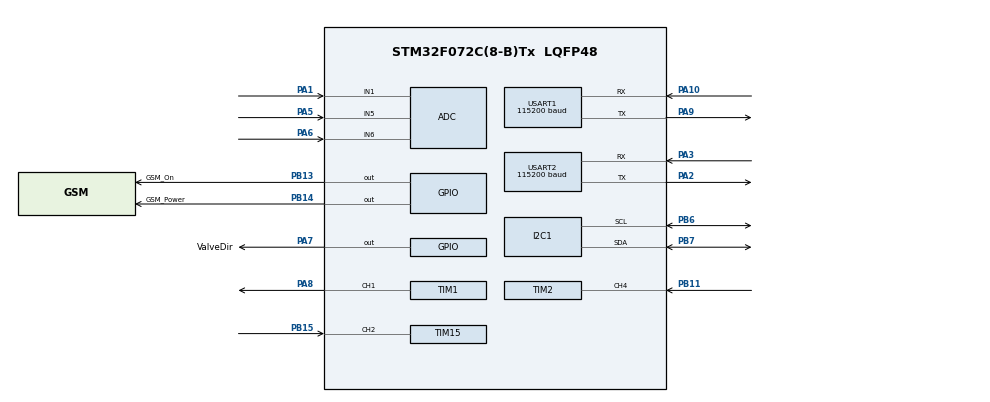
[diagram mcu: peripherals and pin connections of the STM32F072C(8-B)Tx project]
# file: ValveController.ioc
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Dma.ADC.0.Direction=DMA_PERIPH_TO_MEMORY
Dma.ADC.0.Instance=DMA1_Channel1
Dma.ADC.0.MemDataAlignment=DMA_MDATAALIGN_WORD
Dma.ADC.0.MemInc=DMA_MINC_ENABLE
Dma.ADC.0.Mode=DMA_NORMAL
Dma.ADC.0.PeriphDataAlignment=DMA_PDATAALIGN_WORD
Dma.ADC.0.PeriphInc=DMA_PINC_DISABLE
Dma.ADC.0.Priority=DMA_PRIORITY_LOW
Dma.Request0=ADC
Mcu.Family=STM32F0
Mcu.Name=STM32F072C(8-B)Tx
Mcu.Package=LQFP48
NVIC.DMA1_Channel1_IRQn=true\:0\:0\:false\:false\:true\:false\:true\:true
NVIC.TIM15_IRQn=true\:0\:0\:false\:false\:true\:true\:true\:true
NVIC.TIM1_BRK_UP_TRG_COM_IRQn=true\:0\:0\:false\:false\:true\:true\:true\:true
NVIC.TIM1_CC_IRQn=true\:0\:0\:false\:false\:true\:true\:true\:true
NVIC.TIM2_IRQn=true\:0\:0\:false\:false\:true\:true\:true\:true
NVIC.TIM3_IRQn=true\:3\:0\:false\:false\:true\:false\:true\:true
NVIC.TimeBase=TIM3_IRQn
NVIC.TimeBaseIP=TIM3
NVIC.USART1_IRQn=true\:0\:0\:false\:false\:true\:true\:true\:true
NVIC.USART2_IRQn=true\:0\:0\:false\:false\:true\:true\:true\:true
PA1.Mode=IN1
PA1.Signal=ADC_IN1
PA10.Mode=Asynchronous
PA10.Signal=USART1_RX
PA13.Mode=Serial_Wire
PA13.Signal=SYS_SWDIO
PA14.Mode=Serial_Wire
PA14.Signal=SYS_SWCLK
PA2.Mode=Asynchronous
PA2.Signal=USART2_TX
PA3.Mode=Asynchronous
PA3.Signal=USART2_RX
PA5.Mode=IN5
PA5.Signal=ADC_IN5
PA6.Mode=IN6
PA6.Signal=ADC_IN6
PA7.GPIO_Label=ValveDir
PA7.Signal=GPIO_Output
PA8.Signal=S_TIM1_CH1
PA9.Mode=Asynchronous
PA9.Signal=USART1_TX
PB11.Signal=S_TIM2_CH4
PB13.GPIO_Label=GSM_On
PB13.Signal=GPIO_Output
PB14.GPIO_Label=GSM_Power
PB14.Signal=GPIO_Output
PB15.Signal=S_TIM15_CH2
PB6.Mode=I2C
PB6.Signal=I2C1_SCL
PB7.Mode=I2C
PB7.Signal=I2C1_SDA
PF0-OSC_IN.Mode=HSE-External-Oscillator
PF0-OSC_IN.Signal=RCC_OSC_IN
PF1-OSC_OUT.Mode=HSE-External-Oscillator
PF1-OSC_OUT.Signal=RCC_OSC_OUT
ProjectManager.HeapSize=0x200
ProjectManager.StackSize=0x400
ProjectManager.TargetToolchain=STM32CubeIDE
SH.S_TIM15_CH2.0=TIM15_CH2,Input_Capture2_from_TI2
SH.S_TIM1_CH1.0=TIM1_CH1,PWM Generation1 CH1
SH.S_TIM2_CH4.0=TIM2_CH4,Input_Capture4_from_TI4
TIM1.Channel-PWM\ Generation1\ CH1=TIM_CHANNEL_1
TIM1.OCFastMode_PWM-PWM\ Generation1\ CH1=TIM_OCFAST_ENABLE
TIM1.OCMode_PWM-PWM\ Generation1\ CH1=TIM_OCMODE_PWM2
TIM1.Prescaler=8000-1
TIM1.Pulse-PWM\ Generation1\ CH1=32000
TIM15.Channel-Input_Capture2_from_TI2=TIM_CHANNEL_2
TIM15.Prescaler=8000-1
TIM2.Channel-Input_Capture4_from_TI4=TIM_CHANNEL_4
TIM2.Prescaler=8000-1
USART1.BaudRate=115200
USART1.VirtualMode-Asynchronous=VM_ASYNC
USART2.BaudRate=115200
USART2.VirtualMode-Asynchronous=VM_ASYNC
VP_SYS_VS_tim3.Mode=TIM3
VP_TIM15_VS_ClockSourceINT.Mode=Internal
VP_TIM1_VS_ClockSourceINT.Mode=Internal
VP_TIM1_VS_OPM.Mode=OPM_bit
VP_TIM2_VS_ClockSourceINT.Mode=Internal
board=custom

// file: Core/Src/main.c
/* USER CODE BEGIN Header */
/**
  ******************************************************************************
  * @file           : main.c
  * @brief          : Main program body
  ******************************************************************************
  * @attention
  *
  * Copyright (c) 2023 STMicroelectronics.
  * All rights reserved.
  *
  * This software is licensed under terms that can be found in the LICENSE file
  * in the root directory of this software component.
  * If no LICENSE file comes with this software, it is provided AS-IS.
  *
  ******************************************************************************
  */
/* USER CODE END Header */
#include "main.h"

/* USER CODE BEGIN Includes */
#include "ssd1306.h"
#include "GSM.h"
#include "myString.h"
#include "ADC.h"
/* USER CODE END Includes */

ADC_HandleTypeDef hadc;
DMA_HandleTypeDef hdma_adc;

I2C_HandleTypeDef hi2c1;

TIM_HandleTypeDef htim1;
TIM_HandleTypeDef htim2;
TIM_HandleTypeDef htim15;

UART_HandleTypeDef huart1;
UART_HandleTypeDef huart2;

/* USER CODE BEGIN PV */
uint8_t temp[20];
uint8_t timer1s = 0;
uint8_t timer10ms;
int timer1 = 0;
int timer2 = 0;
int timer3 = 0;
float gallonsPm;
extern valveData valve;
int flowing;
uint32_t capture1;
uint32_t previousCapture1;
/* USER CODE END PV */

void SystemClock_Config(void);
static void MX_GPIO_Init(void);
static void MX_DMA_Init(void);
static void MX_I2C1_Init(void);
static void MX_USART1_UART_Init(void);
static void MX_USART2_UART_Init(void);
static void MX_ADC_Init(void);
static void MX_TIM1_Init(void);
static void MX_TIM2_Init(void);
static void MX_TIM15_Init(void);

/* USER CODE BEGIN 0 */

//Flow rate : 5~200L/min
//Flow Pulse:  F(Hz)=(0.45xQ) +/-3%    Q=L/min
//1 gallon = 3,78541 litres

void HAL_TIM_IC_CaptureCallback(TIM_HandleTypeDef *htim){

	  if (htim->Instance == TIM2){
		  if(htim->Channel == HAL_TIM_ACTIVE_CHANNEL_4){
			  flowing = 2;
			  capture1 = HAL_TIM_ReadCapturedValue(&htim2, TIM_CHANNEL_4);
			  if (capture1 > previousCapture1){

			  }
		  }
	  }
	  if (htim->Instance == TIM15){
		  if(htim->Channel == HAL_TIM_ACTIVE_CHANNEL_2){
			  flowing = 1;
		  }
	  }

}
void pulseTim(uint32_t length){
	uint32_t temp;
	if((TIM1->CR1 & TIM_CR1_CEN) == 0){
	  Debug_Send("Pulse f\r\n");
	  temp = length;
	  TIM1->CCR1 = 65000 - temp;
	  TIM1-> CNT = 65000 -temp - 300;
	  //sprintf(temp, "CCR:%i, CNT: %i, length: %i\r\n", TIM1->CCR1, TIM1-> CNT, length);
	  //Debug_Send(temp);
	  //TIM1->EGR |= TIM_EGR_UG;
	  //htim1.Init.Period = 100;
	  TIM1->CR1 |= TIM_CR1_CEN;
	}
}

/* USER CODE END 0 */

int main(void)
{

  /* MCU Configuration--------------------------------------------------------*/

  /* Reset of all peripherals, Initializes the Flash interface and the Systick. */
  HAL_Init();

  /* Configure the system clock */
  SystemClock_Config();

  /* Initialize all configured peripherals */
  MX_GPIO_Init();
  MX_DMA_Init();
  MX_I2C1_Init();
  MX_USART1_UART_Init();
  MX_USART2_UART_Init();
  MX_ADC_Init();
  MX_TIM1_Init();
  MX_TIM2_Init();
  MX_TIM15_Init();
  /* USER CODE BEGIN 2 */
  Debug_Send("start\r\n");
  ssd1306_Init();
  GSM_Init();
  HAL_TIM_OnePulse_Start_IT(&htim1, TIM_CHANNEL_1);
  ssd1306_Init();
  Debug_Send("Init done\r\n");
  HAL_Delay(1000);
  ADC_Service();
  valve.idleCurrent = GetADC1()[ValveLimit];
  HAL_Delay(1000);
  HAL_TIM_IC_Start_IT(&htim2, TIM_CHANNEL_4);
  HAL_TIM_IC_Start_IT(&htim15, TIM_CHANNEL_2);
  /* USER CODE END 2 */

  /* Infinite loop */
  /* USER CODE BEGIN WHILE */
  while (1)
  {
	  if (timer1s == 1){
		  timer1s = 0;
		  Debug_Send("loop\r\n");
		  if (valve.timeout == 0){
			  ADC_Service();
			  if(valve.calibrate == 1) valve.idleCurrent = GetADC1()[ValveLimit];
		  }
		  //GSM_Service();
		  ssd1306_SetCursor(5, 5);
		  ssd1306_WriteString(">Pos ", Font_7x10, White);
		  myLongStr(flowing,temp,10,10);
		  ssd1306_WriteString(temp, Font_7x10, White);
		  ssd1306_UpdateScreen();
		  Motor_Service();
		  flowing = 0;
		  //HAL_GPIO_TogglePin(ValveDir_GPIO_Port, ValveDir_Pin);
	  }
	  if (timer10ms == 1){
		  timer10ms = 0;
		  recData();
		  if (valve.timeout > 0){
			  valve.timeout--;

			  //openTimer = 0;
			  //closeTimer = 0;
			  ADC_Service();
			  //if (GetADC1()[ValveLimit] > (valve.idleCurrent + (valve.idleCurrent / 10))){	//valve current activity
			  //sprintf(temp, "t:%i cnt:%i rt:%i\r\n",valve.timeout, TIM1-> CNT, valve.runTimer);
			  //Debug_Send(temp);
			  if (GetADC1()[ValveLimit] > (2 * valve.idleCurrent)){
				  if (valve.state == Open){
					  if(valve.calibrate == 0) valve.openTimer++;
					  //Debug_Send("o");
				  }
				  if (valve.state == Close){
					  if(valve.calibrate == 0) valve.closeTimer++;
				  }
				  if (valve.calibrate == 1){
					  //sprintf(temp, "s Timer:%i\r\n", valve.stepTimer);
					  //Debug_Send(temp);
					  Debug_Send(".");
					  valve.stepTimer++;
					  if (valve.stepTimer >= valve.stepSize){
						  valve.stepTimer = 0;
						  stop();
					  }
				  }

			  }
			  else{			//no current change
				  if (valve.state == Close){
					  //if(valve.calibrate == 0) Debug_Send("no motion detected\r\n");
				  }
				  valve.runTimer++;
				  if (valve.runTimer > 100){
					  valve.runTimer = 0;
					  //TIM1->CR1 &= ~TIM_CR1_CEN;		//disable timer
					  //TIM1-> CNT = 6495;
					  valve.timeout = 0;
					  sprintf(temp, "o:%i c:%i done\r\n",valve.openTimer, valve.closeTimer);
					  Debug_Send(temp);
				  }

			  }

		  }
	  }
    /* USER CODE END WHILE */

  }
}

void SystemClock_Config(void)
{
  RCC_OscInitTypeDef RCC_OscInitStruct = {0};
  RCC_ClkInitTypeDef RCC_ClkInitStruct = {0};
  RCC_PeriphCLKInitTypeDef PeriphClkInit = {0};

  /** Initializes the RCC Oscillators according to the specified parameters
  * in the RCC_OscInitTypeDef structure.
  */
  RCC_OscInitStruct.OscillatorType = RCC_OSCILLATORTYPE_HSI|RCC_OSCILLATORTYPE_HSI14;
  RCC_OscInitStruct.HSIState = RCC_HSI_ON;
  RCC_OscInitStruct.HSI14State = RCC_HSI14_ON;
  RCC_OscInitStruct.HSICalibrationValue = RCC_HSICALIBRATION_DEFAULT;
  RCC_OscInitStruct.HSI14CalibrationValue = 16;
  RCC_OscInitStruct.PLL.PLLState = RCC_PLL_NONE;
  if (HAL_RCC_OscConfig(&RCC_OscInitStruct) != HAL_OK)
  {
    Error_Handler();
  }

  /** Initializes the CPU, AHB and APB buses clocks
  */
  RCC_ClkInitStruct.ClockType = RCC_CLOCKTYPE_HCLK|RCC_CLOCKTYPE_SYSCLK
                              |RCC_CLOCKTYPE_PCLK1;
  RCC_ClkInitStruct.SYSCLKSource = RCC_SYSCLKSOURCE_HSI;
  RCC_ClkInitStruct.AHBCLKDivider = RCC_SYSCLK_DIV1;
  RCC_ClkInitStruct.APB1CLKDivider = RCC_HCLK_DIV1;

  if (HAL_RCC_ClockConfig(&RCC_ClkInitStruct, FLASH_LATENCY_0) != HAL_OK)
  {
    Error_Handler();
  }
  PeriphClkInit.PeriphClockSelection = RCC_PERIPHCLK_USART1|RCC_PERIPHCLK_USART2
                              |RCC_PERIPHCLK_I2C1;
  PeriphClkInit.Usart1ClockSelection = RCC_USART1CLKSOURCE_PCLK1;
  PeriphClkInit.Usart2ClockSelection = RCC_USART2CLKSOURCE_PCLK1;
  PeriphClkInit.I2c1ClockSelection = RCC_I2C1CLKSOURCE_HSI;
  if (HAL_RCCEx_PeriphCLKConfig(&PeriphClkInit) != HAL_OK)
  {
    Error_Handler();
  }
}

static void MX_ADC_Init(void)
{

  ADC_ChannelConfTypeDef sConfig = {0};

  /** Configure the global features of the ADC (Clock, Resolution, Data Alignment and number of conversion)
  */
  hadc.Instance = ADC1;
  hadc.Init.ClockPrescaler = ADC_CLOCK_ASYNC_DIV1;
  hadc.Init.Resolution = ADC_RESOLUTION_12B;
  hadc.Init.DataAlign = ADC_DATAALIGN_RIGHT;
  hadc.Init.ScanConvMode = ADC_SCAN_DIRECTION_FORWARD;
  hadc.Init.EOCSelection = ADC_EOC_SINGLE_CONV;
  hadc.Init.LowPowerAutoWait = DISABLE;
  hadc.Init.LowPowerAutoPowerOff = DISABLE;
  hadc.Init.ContinuousConvMode = DISABLE;
  hadc.Init.DiscontinuousConvMode = DISABLE;
  hadc.Init.ExternalTrigConv = ADC_SOFTWARE_START;
  hadc.Init.ExternalTrigConvEdge = ADC_EXTERNALTRIGCONVEDGE_NONE;
  hadc.Init.DMAContinuousRequests = DISABLE;
  hadc.Init.Overrun = ADC_OVR_DATA_PRESERVED;
  if (HAL_ADC_Init(&hadc) != HAL_OK)
  {
    Error_Handler();
  }

  /** Configure for the selected ADC regular channel to be converted.
  */
  sConfig.Channel = ADC_CHANNEL_1;
  sConfig.Rank = ADC_RANK_CHANNEL_NUMBER;
  sConfig.SamplingTime = ADC_SAMPLETIME_1CYCLE_5;
  if (HAL_ADC_ConfigChannel(&hadc, &sConfig) != HAL_OK)
  {
    Error_Handler();
  }

  /** Configure for the selected ADC regular channel to be converted.
  */
  sConfig.Channel = ADC_CHANNEL_5;
  if (HAL_ADC_ConfigChannel(&hadc, &sConfig) != HAL_OK)
  {
    Error_Handler();
  }

  /** Configure for the selected ADC regular channel to be converted.
  */
  sConfig.Channel = ADC_CHANNEL_6;
  if (HAL_ADC_ConfigChannel(&hadc, &sConfig) != HAL_OK)
  {
    Error_Handler();
  }

}

static void MX_I2C1_Init(void)
{

  hi2c1.Instance = I2C1;
  hi2c1.Init.Timing = 0x2000090E;
  hi2c1.Init.OwnAddress1 = 0;
  hi2c1.Init.AddressingMode = I2C_ADDRESSINGMODE_7BIT;
  hi2c1.Init.DualAddressMode = I2C_DUALADDRESS_DISABLE;
  hi2c1.Init.OwnAddress2 = 0;
  hi2c1.Init.OwnAddress2Masks = I2C_OA2_NOMASK;
  hi2c1.Init.GeneralCallMode = I2C_GENERALCALL_DISABLE;
  hi2c1.Init.NoStretchMode = I2C_NOSTRETCH_DISABLE;
  if (HAL_I2C_Init(&hi2c1) != HAL_OK)
  {
    Error_Handler();
  }

  /** Configure Analogue filter
  */
  if (HAL_I2CEx_ConfigAnalogFilter(&hi2c1, I2C_ANALOGFILTER_ENABLE) != HAL_OK)
  {
    Error_Handler();
  }

  /** Configure Digital filter
  */
  if (HAL_I2CEx_ConfigDigitalFilter(&hi2c1, 0) != HAL_OK)
  {
    Error_Handler();
  }

}

static void MX_TIM1_Init(void)
{

  TIM_ClockConfigTypeDef sClockSourceConfig = {0};
  TIM_MasterConfigTypeDef sMasterConfig = {0};
  TIM_OC_InitTypeDef sConfigOC = {0};
  TIM_BreakDeadTimeConfigTypeDef sBreakDeadTimeConfig = {0};

  htim1.Instance = TIM1;
  htim1.Init.Prescaler = 8000-1;
  htim1.Init.CounterMode = TIM_COUNTERMODE_UP;
  htim1.Init.Period = 65535;
  htim1.Init.ClockDivision = TIM_CLOCKDIVISION_DIV1;
  htim1.Init.RepetitionCounter = 0;
  htim1.Init.AutoReloadPreload = TIM_AUTORELOAD_PRELOAD_DISABLE;
  if (HAL_TIM_Base_Init(&htim1) != HAL_OK)
  {
    Error_Handler();
  }
  sClockSourceConfig.ClockSource = TIM_CLOCKSOURCE_INTERNAL;
  if (HAL_TIM_ConfigClockSource(&htim1, &sClockSourceConfig) != HAL_OK)
  {
    Error_Handler();
  }
  if (HAL_TIM_PWM_Init(&htim1) != HAL_OK)
  {
    Error_Handler();
  }
  if (HAL_TIM_OnePulse_Init(&htim1, TIM_OPMODE_SINGLE) != HAL_OK)
  {
    Error_Handler();
  }
  sMasterConfig.MasterOutputTrigger = TIM_TRGO_RESET;
  sMasterConfig.MasterSlaveMode = TIM_MASTERSLAVEMODE_DISABLE;
  if (HAL_TIMEx_MasterConfigSynchronization(&htim1, &sMasterConfig) != HAL_OK)
  {
    Error_Handler();
  }
  sConfigOC.OCMode = TIM_OCMODE_PWM2;
  sConfigOC.Pulse = 32000;
  sConfigOC.OCPolarity = TIM_OCPOLARITY_HIGH;
  sConfigOC.OCNPolarity = TIM_OCNPOLARITY_HIGH;
  sConfigOC.OCFastMode = TIM_OCFAST_ENABLE;
  sConfigOC.OCIdleState = TIM_OCIDLESTATE_RESET;
  sConfigOC.OCNIdleState = TIM_OCNIDLESTATE_RESET;
  if (HAL_TIM_PWM_ConfigChannel(&htim1, &sConfigOC, TIM_CHANNEL_1) != HAL_OK)
  {
    Error_Handler();
  }
  sBreakDeadTimeConfig.OffStateRunMode = TIM_OSSR_DISABLE;
  sBreakDeadTimeConfig.OffStateIDLEMode = TIM_OSSI_DISABLE;
  sBreakDeadTimeConfig.LockLevel = TIM_LOCKLEVEL_OFF;
  sBreakDeadTimeConfig.DeadTime = 0;
  sBreakDeadTimeConfig.BreakState = TIM_BREAK_DISABLE;
  sBreakDeadTimeConfig.BreakPolarity = TIM_BREAKPOLARITY_HIGH;
  sBreakDeadTimeConfig.AutomaticOutput = TIM_AUTOMATICOUTPUT_DISABLE;
  if (HAL_TIMEx_ConfigBreakDeadTime(&htim1, &sBreakDeadTimeConfig) != HAL_OK)
  {
    Error_Handler();
  }
  HAL_TIM_MspPostInit(&htim1);

}

static void MX_TIM2_Init(void)
{

  TIM_ClockConfigTypeDef sClockSourceConfig = {0};
  TIM_MasterConfigTypeDef sMasterConfig = {0};
  TIM_IC_InitTypeDef sConfigIC = {0};

  htim2.Instance = TIM2;
  htim2.Init.Prescaler = 8000-1;
  htim2.Init.CounterMode = TIM_COUNTERMODE_UP;
  htim2.Init.Period = 4294967295;
  htim2.Init.ClockDivision = TIM_CLOCKDIVISION_DIV1;
  htim2.Init.AutoReloadPreload = TIM_AUTORELOAD_PRELOAD_DISABLE;
  if (HAL_TIM_Base_Init(&htim2) != HAL_OK)
  {
    Error_Handler();
  }
  sClockSourceConfig.ClockSource = TIM_CLOCKSOURCE_INTERNAL;
  if (HAL_TIM_ConfigClockSource(&htim2, &sClockSourceConfig) != HAL_OK)
  {
    Error_Handler();
  }
  if (HAL_TIM_IC_Init(&htim2) != HAL_OK)
  {
    Error_Handler();
  }
  sMasterConfig.MasterOutputTrigger = TIM_TRGO_RESET;
  sMasterConfig.MasterSlaveMode = TIM_MASTERSLAVEMODE_DISABLE;
  if (HAL_TIMEx_MasterConfigSynchronization(&htim2, &sMasterConfig) != HAL_OK)
  {
    Error_Handler();
  }
  sConfigIC.ICPolarity = TIM_INPUTCHANNELPOLARITY_RISING;
  sConfigIC.ICSelection = TIM_ICSELECTION_DIRECTTI;
  sConfigIC.ICPrescaler = TIM_ICPSC_DIV1;
  sConfigIC.ICFilter = 0;
  if (HAL_TIM_IC_ConfigChannel(&htim2, &sConfigIC, TIM_CHANNEL_4) != HAL_OK)
  {
    Error_Handler();
  }

}

static void MX_TIM15_Init(void)
{

  TIM_ClockConfigTypeDef sClockSourceConfig = {0};
  TIM_MasterConfigTypeDef sMasterConfig = {0};
  TIM_IC_InitTypeDef sConfigIC = {0};

  htim15.Instance = TIM15;
  htim15.Init.Prescaler = 8000-1;
  htim15.Init.CounterMode = TIM_COUNTERMODE_UP;
  htim15.Init.Period = 65535;
  htim15.Init.ClockDivision = TIM_CLOCKDIVISION_DIV1;
  htim15.Init.RepetitionCounter = 0;
  htim15.Init.AutoReloadPreload = TIM_AUTORELOAD_PRELOAD_DISABLE;
  if (HAL_TIM_Base_Init(&htim15) != HAL_OK)
  {
    Error_Handler();
  }
  sClockSourceConfig.ClockSource = TIM_CLOCKSOURCE_INTERNAL;
  if (HAL_TIM_ConfigClockSource(&htim15, &sClockSourceConfig) != HAL_OK)
  {
    Error_Handler();
  }
  if (HAL_TIM_IC_Init(&htim15) != HAL_OK)
  {
    Error_Handler();
  }
  sMasterConfig.MasterOutputTrigger = TIM_TRGO_RESET;
  sMasterConfig.MasterSlaveMode = TIM_MASTERSLAVEMODE_DISABLE;
  if (HAL_TIMEx_MasterConfigSynchronization(&htim15, &sMasterConfig) != HAL_OK)
  {
    Error_Handler();
  }
  sConfigIC.ICPolarity = TIM_INPUTCHANNELPOLARITY_RISING;
  sConfigIC.ICSelection = TIM_ICSELECTION_DIRECTTI;
  sConfigIC.ICPrescaler = TIM_ICPSC_DIV1;
  sConfigIC.ICFilter = 0;
  if (HAL_TIM_IC_ConfigChannel(&htim15, &sConfigIC, TIM_CHANNEL_2) != HAL_OK)
  {
    Error_Handler();
  }

}

static void MX_USART1_UART_Init(void)
{

  huart1.Instance = USART1;
  huart1.Init.BaudRate = 115200;
  huart1.Init.WordLength = UART_WORDLENGTH_8B;
  huart1.Init.StopBits = UART_STOPBITS_1;
  huart1.Init.Parity = UART_PARITY_NONE;
  huart1.Init.Mode = UART_MODE_TX_RX;
  huart1.Init.HwFlowCtl = UART_HWCONTROL_NONE;
  huart1.Init.OverSampling = UART_OVERSAMPLING_16;
  huart1.Init.OneBitSampling = UART_ONE_BIT_SAMPLE_DISABLE;
  huart1.AdvancedInit.AdvFeatureInit = UART_ADVFEATURE_NO_INIT;
  if (HAL_UART_Init(&huart1) != HAL_OK)
  {
    Error_Handler();
  }

}

static void MX_USART2_UART_Init(void)
{

  huart2.Instance = USART2;
  huart2.Init.BaudRate = 115200;
  huart2.Init.WordLength = UART_WORDLENGTH_8B;
  huart2.Init.StopBits = UART_STOPBITS_1;
  huart2.Init.Parity = UART_PARITY_NONE;
  huart2.Init.Mode = UART_MODE_TX_RX;
  huart2.Init.HwFlowCtl = UART_HWCONTROL_NONE;
  huart2.Init.OverSampling = UART_OVERSAMPLING_16;
  huart2.Init.OneBitSampling = UART_ONE_BIT_SAMPLE_DISABLE;
  huart2.AdvancedInit.AdvFeatureInit = UART_ADVFEATURE_NO_INIT;
  if (HAL_UART_Init(&huart2) != HAL_OK)
  {
    Error_Handler();
  }

}

static void MX_DMA_Init(void)
{

  /* DMA controller clock enable */
  __HAL_RCC_DMA1_CLK_ENABLE();

  /* DMA interrupt init */
  /* DMA1_Channel1_IRQn interrupt configuration */
  HAL_NVIC_SetPriority(DMA1_Channel1_IRQn, 0, 0);
  HAL_NVIC_EnableIRQ(DMA1_Channel1_IRQn);

}

static void MX_GPIO_Init(void)
{
  GPIO_InitTypeDef GPIO_InitStruct = {0};

  /* GPIO Ports Clock Enable */
  __HAL_RCC_GPIOF_CLK_ENABLE();
  __HAL_RCC_GPIOA_CLK_ENABLE();
  __HAL_RCC_GPIOB_CLK_ENABLE();

  /*Configure GPIO pin Output Level */
  HAL_GPIO_WritePin(ValveDir_GPIO_Port, ValveDir_Pin, GPIO_PIN_RESET);

  /*Configure GPIO pin Output Level */
  HAL_GPIO_WritePin(GPIOB, GSM_On_Pin|GSM_Power_Pin, GPIO_PIN_RESET);

  /*Configure GPIO pin : ValveDir_Pin */
  GPIO_InitStruct.Pin = ValveDir_Pin;
  GPIO_InitStruct.Mode = GPIO_MODE_OUTPUT_PP;
  GPIO_InitStruct.Pull = GPIO_NOPULL;
  GPIO_InitStruct.Speed = GPIO_SPEED_FREQ_LOW;
  HAL_GPIO_Init(ValveDir_GPIO_Port, &GPIO_InitStruct);

  /*Configure GPIO pins : GSM_On_Pin GSM_Power_Pin */
  GPIO_InitStruct.Pin = GSM_On_Pin|GSM_Power_Pin;
  GPIO_InitStruct.Mode = GPIO_MODE_OUTPUT_PP;
  GPIO_InitStruct.Pull = GPIO_NOPULL;
  GPIO_InitStruct.Speed = GPIO_SPEED_FREQ_LOW;
  HAL_GPIO_Init(GPIOB, &GPIO_InitStruct);

}

void HAL_TIM_PeriodElapsedCallback(TIM_HandleTypeDef *htim)
{
  /* USER CODE BEGIN Callback 0 */
	if (timer2 <30)timer2++;
		else{
			timer2 = 0;
			//recData();
			//if(gsmTimeout <= 5) HAL_WWDG_Refresh(&hwwdg);
		}
	if (timer1 <1000)timer1++;
	else {
		timer1 = 0;
		//of = 1;
		//loop();
		timer1s = 1;
		//SendChar(0x30);
	}
	timer3++;
	if (timer3 >= 10){
		timer3 = 0;
		timer10ms = 1;
	}
  /* USER CODE END Callback 0 */
  if (htim->Instance == TIM3) {
    HAL_IncTick();
  }
}

void Error_Handler(void)
{
  __disable_irq();
  while (1)
  {
  }
}
